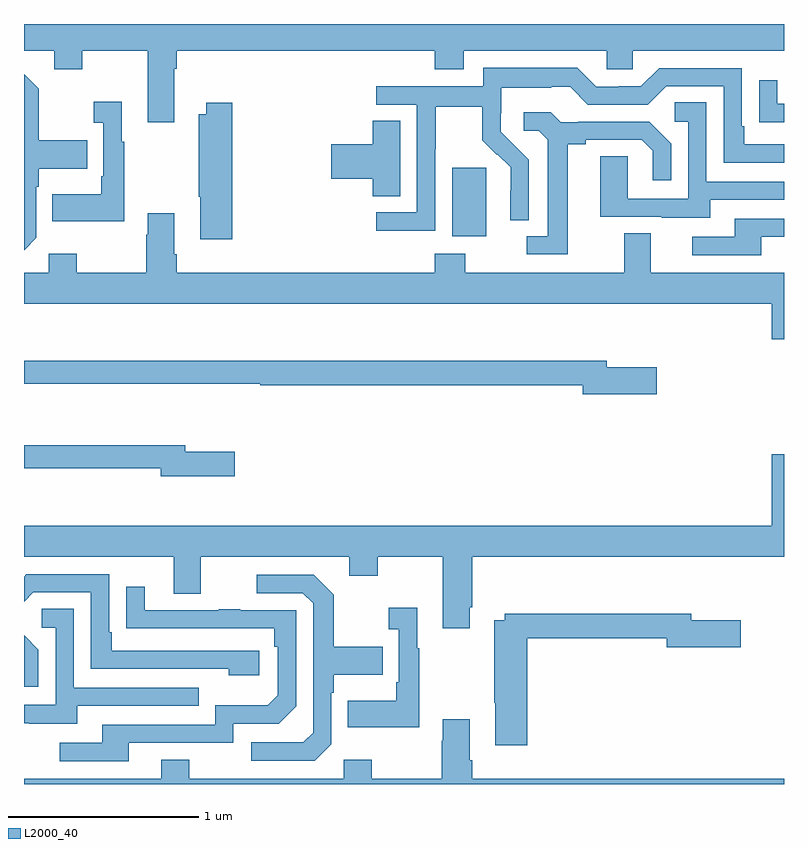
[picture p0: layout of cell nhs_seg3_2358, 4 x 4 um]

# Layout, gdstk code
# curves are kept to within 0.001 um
import gdstk
lib = gdstk.Library(unit=1e-6, precision=1e-09)
def R(c, l, rs):  # rectangles x0, y0, x1, y1
    for r in rs: c.add(gdstk.rectangle(r[:2], r[2:], *l))
def P(c, l, *ps):  # polygons
    for p in ps: c.add(gdstk.Polygon(p, *l))
L2000_40 = (2000, 40)

nhs_seg3_2358 = lib.new_cell('nhs_seg3_2358')
R(nhs_seg3_2358, L2000_40, [(235.253,689.282,235.432,689.643)])
P(nhs_seg3_2358, L2000_40, [(233,690.26),(233.159,690.26),(233.159,690.161),(233.307,690.161),(233.307,690.26),(233.651,690.26),(233.651,689.883),(233.791,689.883),(233.791,690.164),(233.804,690.164),(233.804,690.26),(235.163,690.26),(235.163,690.161),(235.315,690.161),(235.315,690.26),(236.067,690.26),(236.067,690.162),(236.205,690.162),(236.205,690.26),(237,690.26),(237,690.4),(233,690.4)],
  [(235.164,689.74),(235.167,689.74),(235.167,689.964),(235.411,689.964),(235.411,689.789),(235.488,689.712),(235.491,689.715),(235.562,689.645),(235.562,689.522),(235.56,689.522),(235.56,689.368),(235.656,689.368),(235.656,689.686),(235.51,689.834),(235.51,689.931),(235.512,689.931),(235.512,690.065),(235.775,690.065),(235.775,690.069),(235.875,690.069),(235.968,689.976),(236.283,689.976),(236.379,690.072),(236.682,690.072),(236.682,689.67),(237,689.67),(237,689.766),(236.791,689.766),(236.791,689.863),(236.778,689.863),(236.778,690.168),(236.343,690.168),(236.247,690.072),(236.129,690.072),(236.129,690.069),(236.013,690.069),(235.913,690.169),(235.416,690.169),(235.416,690.072),(234.855,690.072),(234.855,689.976),(235.068,689.976),(235.068,689.409),(234.855,689.409),(234.855,689.311),(235.164,689.311)],
  [(233.064,689.274),(233.064,689.543),(233.077,689.543),(233.077,689.639),(233.333,689.639),(233.333,689.787),(233.077,689.787),(233.077,690.059),(233,690.136),(233,689.21)],
  [(237,689.979),(236.965,689.979),(236.965,690.103),(236.869,690.103),(236.869,689.884),(236.971,689.884),(236.971,689.883),(237,689.883)],
  [(233.527,689.779),(233.515,689.779),(233.515,689.992),(233.367,689.992),(233.367,689.879),(233.418,689.879),(233.418,689.599),(233.406,689.599),(233.406,689.503),(233.149,689.503),(233.149,689.363),(233.527,689.363)],
  [(236.611,689.475),(237,689.475),(237,689.571),(236.592,689.571),(236.592,689.987),(236.424,689.987),(236.424,689.886),(236.496,689.886),(236.496,689.481),(236.178,689.481),(236.178,689.705),(236.033,689.705),(236.033,689.385),(236.357,689.385),(236.357,689.381),(236.611,689.381)],
  [(234.095,689.986),(233.96,689.986),(233.96,689.926),(233.92,689.926),(233.92,689.491),(233.927,689.491),(233.927,689.268),(234.095,689.268)],
  [(235.861,689.768),(235.957,689.768),(235.957,689.79),(236.252,689.79),(236.309,689.733),(236.309,689.577),(236.406,689.577),(236.406,689.77),(236.29,689.886),(235.918,689.886),(235.918,689.883),(235.824,689.883),(235.772,689.935),(235.629,689.935),(235.629,689.838),(235.71,689.838),(235.757,689.791),(235.757,689.283),(235.647,689.283),(235.647,689.187),(235.861,689.187)],
  [(234.979,689.891),(234.836,689.891),(234.836,689.768),(234.618,689.768),(234.618,689.585),(234.836,689.585),(234.836,689.494),(234.979,689.494)],
  [(237,689.092),(236.299,689.092),(236.299,689.3),(236.159,689.3),(236.159,689.092),(235.323,689.092),(235.323,689.191),(235.163,689.191),(235.163,689.092),(233.804,689.092),(233.804,689.188),(233.791,689.188),(233.791,689.404),(233.651,689.404),(233.651,689.291),(233.644,689.291),(233.644,689.092),(233.277,689.092),(233.277,689.191),(233.13,689.191),(233.13,689.092),(233,689.092),(233,688.928),(236.936,688.928),(236.936,688.74),(237,688.74)],
  [(236.881,689.28),(237,689.28),(237,689.376),(236.741,689.376),(236.741,689.28),(236.517,689.28),(236.517,689.184),(236.881,689.184)],
  [(236.329,688.593),(236.068,688.593),(236.068,688.627),(233,688.627),(233,688.506),(234.244,688.506),(234.244,688.498),(235.94,688.498),(235.94,688.451),(236.329,688.451)],
  [(234.109,688.149),(233.848,688.149),(233.848,688.183),(233,688.183),(233,688.062),(233.72,688.062),(233.72,688.019),(234.109,688.019)],
  [(235.345,687.331),(235.358,687.331),(235.358,687.596),(237,687.596),(237,688.135),(236.936,688.135),(236.936,687.76),(233,687.76),(233,687.596),(233.789,687.596),(233.789,687.402),(233.929,687.402),(233.929,687.596),(234.713,687.596),(234.713,687.497),(234.861,687.497),(234.861,687.596),(235.205,687.596),(235.205,687.219),(235.345,687.219)],
  [(234.238,687.102),(233.461,687.102),(233.461,687.199),(233.448,687.199),(233.448,687.504),(233.013,687.504),(233,687.491),(233,687.359),(233.049,687.408),(233.352,687.408),(233.352,687.006),(234.077,687.006),(234.077,686.972),(234.238,686.972)],
  [(234.618,686.61),(234.618,686.879),(234.631,686.879),(234.631,686.975),(234.887,686.975),(234.887,687.123),(234.631,687.123),(234.631,687.395),(234.525,687.501),(234.225,687.501),(234.225,687.405),(234.468,687.405),(234.522,687.351),(234.522,686.67),(234.471,686.619),(234.195,686.619),(234.195,686.523),(234.531,686.523)],
  [(233.551,686.616),(234.102,686.616),(234.102,686.718),(234.342,686.718),(234.432,686.808),(234.432,687.315),(234.137,687.315),(234.137,687.32),(234.025,687.32),(234.025,687.315),(233.635,687.315),(233.635,687.439),(233.539,687.439),(233.539,687.22),(234.316,687.219),(234.316,687.122),(234.336,687.122),(234.336,686.868),(234.283,686.815),(234.006,686.815),(234.006,686.712),(233.411,686.712),(233.411,686.616),(233.187,686.616),(233.187,686.52),(233.551,686.52)],
  [(235.081,687.115),(235.069,687.115),(235.069,687.328),(234.921,687.328),(234.921,687.215),(234.972,687.215),(234.972,686.935),(234.96,686.935),(234.96,686.839),(234.703,686.839),(234.703,686.699),(235.081,686.699)],
  [(233.281,686.811),(233.921,686.811),(233.921,686.907),(233.262,686.907),(233.262,687.323),(233.094,687.323),(233.094,687.222),(233.166,687.222),(233.166,686.817),(233,686.817),(233,686.721),(233.027,686.721),(233.027,686.717),(233.281,686.717)],
  [(235.649,687.166),(236.384,687.166),(236.384,687.119),(236.773,687.119),(236.773,687.261),(236.512,687.261),(236.512,687.295),(235.53,687.295),(235.53,687.262),(235.474,687.262),(235.474,686.827),(235.481,686.827),(235.481,686.604),(235.649,686.604)],
  [(233.076,687.106),(233,687.182),(233,686.913),(233.076,686.913)],
  [(237,686.428),(235.358,686.428),(235.358,686.524),(235.345,686.524),(235.345,686.74),(235.205,686.74),(235.205,686.627),(235.198,686.627),(235.198,686.428),(234.831,686.428),(234.831,686.527),(234.684,686.527),(234.684,686.428),(233.871,686.428),(233.871,686.527),(233.723,686.527),(233.723,686.428),(233,686.428),(233,686.4),(237,686.4)])

lib.write_gds('nhs_seg3_2358.gds')
